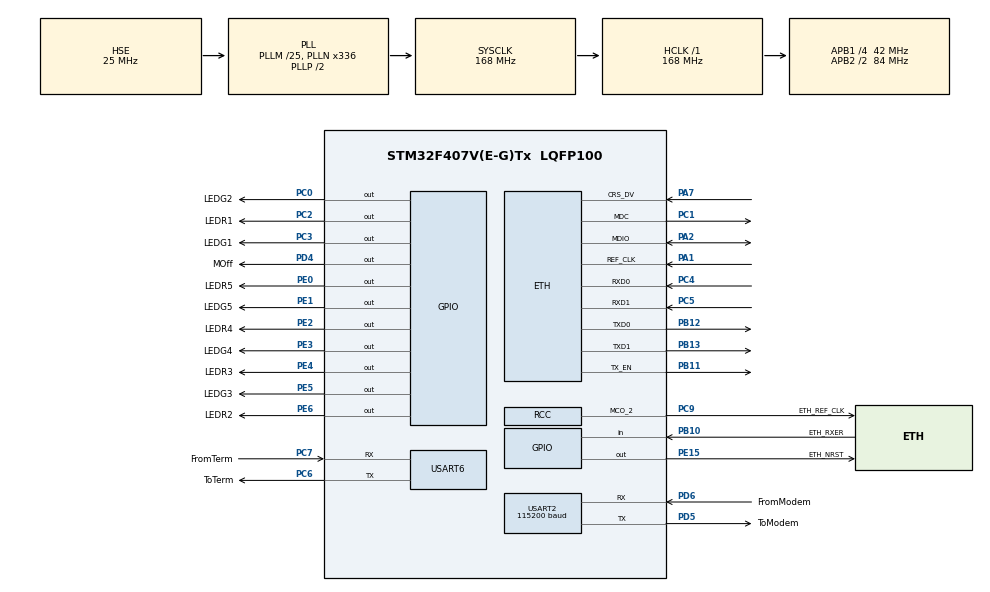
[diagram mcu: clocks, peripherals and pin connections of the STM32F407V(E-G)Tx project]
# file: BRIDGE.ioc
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Dma.Request0=USART6_TX
Dma.Request1=USART6_RX
Dma.Request2=USART2_RX
Dma.Request3=USART2_TX
Dma.USART2_RX.2.Direction=DMA_PERIPH_TO_MEMORY
Dma.USART2_RX.2.FIFOMode=DMA_FIFOMODE_DISABLE
Dma.USART2_RX.2.Instance=DMA1_Stream5
Dma.USART2_RX.2.MemDataAlignment=DMA_MDATAALIGN_BYTE
Dma.USART2_RX.2.MemInc=DMA_MINC_ENABLE
Dma.USART2_RX.2.Mode=DMA_CIRCULAR
Dma.USART2_RX.2.PeriphDataAlignment=DMA_PDATAALIGN_BYTE
Dma.USART2_RX.2.PeriphInc=DMA_PINC_DISABLE
Dma.USART2_RX.2.Priority=DMA_PRIORITY_LOW
Dma.USART2_TX.3.Direction=DMA_MEMORY_TO_PERIPH
Dma.USART2_TX.3.FIFOMode=DMA_FIFOMODE_DISABLE
Dma.USART2_TX.3.Instance=DMA1_Stream6
Dma.USART2_TX.3.MemDataAlignment=DMA_MDATAALIGN_BYTE
Dma.USART2_TX.3.MemInc=DMA_MINC_ENABLE
Dma.USART2_TX.3.Mode=DMA_NORMAL
Dma.USART2_TX.3.PeriphDataAlignment=DMA_PDATAALIGN_BYTE
Dma.USART2_TX.3.PeriphInc=DMA_PINC_DISABLE
Dma.USART2_TX.3.Priority=DMA_PRIORITY_LOW
Dma.USART6_RX.1.Direction=DMA_PERIPH_TO_MEMORY
Dma.USART6_RX.1.FIFOMode=DMA_FIFOMODE_DISABLE
Dma.USART6_RX.1.Instance=DMA2_Stream1
Dma.USART6_RX.1.MemDataAlignment=DMA_MDATAALIGN_BYTE
Dma.USART6_RX.1.MemInc=DMA_MINC_ENABLE
Dma.USART6_RX.1.Mode=DMA_NORMAL
Dma.USART6_RX.1.PeriphDataAlignment=DMA_PDATAALIGN_BYTE
Dma.USART6_RX.1.PeriphInc=DMA_PINC_DISABLE
Dma.USART6_RX.1.Priority=DMA_PRIORITY_LOW
Dma.USART6_TX.0.Direction=DMA_MEMORY_TO_PERIPH
Dma.USART6_TX.0.FIFOMode=DMA_FIFOMODE_DISABLE
Dma.USART6_TX.0.Instance=DMA2_Stream6
Dma.USART6_TX.0.MemDataAlignment=DMA_MDATAALIGN_BYTE
Dma.USART6_TX.0.MemInc=DMA_MINC_ENABLE
Dma.USART6_TX.0.Mode=DMA_NORMAL
Dma.USART6_TX.0.PeriphDataAlignment=DMA_PDATAALIGN_BYTE
Dma.USART6_TX.0.PeriphInc=DMA_PINC_DISABLE
Dma.USART6_TX.0.Priority=DMA_PRIORITY_LOW
ETH.ChecksumMode=ETH_CHECKSUM_BY_HARDWARE
ETH.MACAddr=00\:80\:E1\:00\:28\:93
ETH.MediaInterface=ETH_MEDIA_INTERFACE_RMII
ETH.PHY_DUPLEX_STATUS=0x0010
ETH.PHY_ISFR=0x001d
ETH.PHY_ISFR_INT4=0x0010
ETH.PHY_Name_RMII=userPHY
ETH.PHY_SPEED_STATUS=0x0004
ETH.PHY_SR=31
ETH.PHY_User_Name=LAN8720
ETH.PhyAddress=0
FREERTOS.Tasks01=defaultTask,0,512,StartDefaultTask,Default,NULL,Dynamic,NULL,NULL
FREERTOS.configCHECK_FOR_STACK_OVERFLOW=2
FREERTOS.configTOTAL_HEAP_SIZE=20480
FREERTOS.configUSE_MALLOC_FAILED_HOOK=1
LWIP.API_LIB_DEBUG=LWIP_DBG_ON
LWIP.API_MSG_DEBUG=LWIP_DBG_ON
LWIP.AUTOIP_DEBUG=LWIP_DBG_ON
LWIP.CHECKSUM_BY_HARDWARE=0
LWIP.DHCP_DEBUG=LWIP_DBG_ON
LWIP.DNS_DEBUG=LWIP_DBG_ON
LWIP.ETHARP_DEBUG=LWIP_DBG_OFF
LWIP.GATEWAY_ADDRESS=192.168.001.001
LWIP.ICMP_DEBUG=LWIP_DBG_ON
LWIP.IGMP_DEBUG=LWIP_DBG_ON
LWIP.INET_DEBUG=LWIP_DBG_ON
LWIP.IP_ADDRESS=192.168.001.010
LWIP.IP_DEBUG=LWIP_DBG_ON
LWIP.IP_REASS_DEBUG=LWIP_DBG_ON
LWIP.LWIP_CHECKSUM_CTRL_PER_NETIF=1
LWIP.LWIP_DHCP=0
LWIP.LWIP_DNS=1
LWIP.MEMP_DEBUG=LWIP_DBG_OFF
LWIP.MEMP_NUM_PBUF=10
LWIP.MEMP_NUM_TCP_PCB=10
LWIP.MEMP_NUM_TCP_PCB_LISTEN=5
LWIP.MEMP_NUM_TCP_SEG=12
LWIP.MEMP_NUM_UDP_PCB=6
LWIP.MEM_DEBUG=LWIP_DBG_OFF
LWIP.MEM_SIZE=20480
LWIP.NETIF_DEBUG=LWIP_DBG_ON
LWIP.NETMASK_ADDRESS=255.255.255.000
LWIP.PAP_SUPPORT=1
LWIP.PBUF_DEBUG=LWIP_DBG_OFF
LWIP.PBUF_POOL_BUFSIZE=1524
LWIP.PPPOS_SUPPORT=1
LWIP.PPP_DEBUG=LWIP_DBG_ON
LWIP.PPP_SUPPORT=1
LWIP.RAW_DEBUG=LWIP_DBG_OFF
LWIP.SLIP_DEBUG=LWIP_DBG_OFF
LWIP.SOCKETS_DEBUG=LWIP_DBG_ON
LWIP.SYS_DEBUG=LWIP_DBG_OFF
LWIP.TCPIP_DEBUG=LWIP_DBG_ON
LWIP.TCP_CWND_DEBUG=LWIP_DBG_ON
LWIP.TCP_DEBUG=LWIP_DBG_OFF
LWIP.TCP_FR_DEBUG=LWIP_DBG_ON
LWIP.TCP_INPUT_DEBUG=LWIP_DBG_ON
LWIP.TCP_MSS=1460
LWIP.TCP_OUTPUT_DEBUG=LWIP_DBG_ON
LWIP.TCP_QLEN_DEBUG=LWIP_DBG_ON
LWIP.TCP_QUEUE_OOSEQ=0
LWIP.TCP_RST_DEBUG=LWIP_DBG_ON
LWIP.TCP_RTO_DEBUG=LWIP_DBG_ON
LWIP.TCP_SND_BUF=5840
LWIP.TCP_SND_QUEUELEN=8
LWIP.TCP_WND=2920
LWIP.TCP_WND_DEBUG=LWIP_DBG_ON
LWIP.TIMERS_DEBUG=LWIP_DBG_OFF
LWIP.UDP_DEBUG=LWIP_DBG_ON
LWIP.Version=v2.0.3_Cube
Mcu.Family=STM32F4
Mcu.Name=STM32F407V(E-G)Tx
Mcu.Package=LQFP100
NVIC.DMA1_Stream5_IRQn=true\:0\:0\:false\:false\:true\:false\:false
NVIC.DMA1_Stream6_IRQn=true\:0\:0\:false\:false\:true\:false\:false
NVIC.DMA2_Stream1_IRQn=true\:0\:0\:false\:false\:true\:false\:false
NVIC.DMA2_Stream6_IRQn=true\:0\:0\:false\:false\:true\:false\:false
NVIC.ETH_IRQn=true\:5\:0\:false\:false\:true\:true\:false
NVIC.PriorityGroup=NVIC_PRIORITYGROUP_4
NVIC.TIM1_UP_TIM10_IRQn=true\:0\:0\:false\:false\:true\:false\:false
NVIC.TimeBase=TIM1_UP_TIM10_IRQn
NVIC.TimeBaseIP=TIM1
NVIC.USART2_IRQn=true\:0\:0\:false\:false\:true\:false\:true
NVIC.USART6_IRQn=true\:0\:0\:false\:false\:true\:false\:true
PA1.Mode=RMII
PA1.Signal=ETH_REF_CLK
PA13.Mode=Trace_Asynchronous_SW
PA13.Signal=SYS_JTMS-SWDIO
PA14.Mode=Trace_Asynchronous_SW
PA14.Signal=SYS_JTCK-SWCLK
PA2.Mode=RMII
PA2.Signal=ETH_MDIO
PA7.Mode=RMII
PA7.Signal=ETH_CRS_DV
PB10.GPIO_Label=ETH_RXER
PB10.Signal=GPIO_Input
PB11.Mode=RMII
PB11.Signal=ETH_TX_EN
PB12.Mode=RMII
PB12.Signal=ETH_TXD0
PB13.Mode=RMII
PB13.Signal=ETH_TXD1
PB3.Mode=Trace_Asynchronous_SW
PB3.Signal=SYS_JTDO-SWO
PC0.GPIO_Label=LEDG2
PC0.Signal=GPIO_Output
PC1.Mode=RMII
PC1.Signal=ETH_MDC
PC2.GPIO_Label=LEDR1
PC2.Signal=GPIO_Output
PC3.GPIO_Label=LEDG1
PC3.Signal=GPIO_Output
PC4.Mode=RMII
PC4.Signal=ETH_RXD0
PC5.Mode=RMII
PC5.Signal=ETH_RXD1
PC6.GPIO_Label=ToTerm
PC6.Mode=Asynchronous
PC6.Signal=USART6_TX
PC7.GPIO_Label=FromTerm
PC7.Mode=Asynchronous
PC7.Signal=USART6_RX
PC9.GPIO_Label=ETH_REF_CLK
PC9.GPIO_Speed=GPIO_SPEED_FREQ_HIGH
PC9.Mode=Clock-out-2
PC9.Signal=RCC_MCO_2
PD4.GPIO_Label=MOff
PD4.PinState=GPIO_PIN_SET
PD4.Signal=GPIO_Output
PD5.GPIO_Label=ToModem
PD5.Mode=Asynchronous
PD5.Signal=USART2_TX
PD6.GPIO_Label=FromModem
PD6.Mode=Asynchronous
PD6.Signal=USART2_RX
PE0.GPIO_Label=LEDR5
PE0.Signal=GPIO_Output
PE1.GPIO_Label=LEDG5
PE1.Signal=GPIO_Output
PE15.GPIO_Label=ETH_NRST
PE15.Signal=GPIO_Output
PE2.GPIO_Label=LEDR4
PE2.Signal=GPIO_Output
PE3.GPIO_Label=LEDG4
PE3.Signal=GPIO_Output
PE4.GPIO_Label=LEDR3
PE4.Signal=GPIO_Output
PE5.GPIO_Label=LEDG3
PE5.Signal=GPIO_Output
PE6.GPIO_Label=LEDR2
PE6.Signal=GPIO_Output
PH0-OSC_IN.Mode=HSE-External-Oscillator
PH0-OSC_IN.Signal=RCC_OSC_IN
PH1-OSC_OUT.Mode=HSE-External-Oscillator
PH1-OSC_OUT.Signal=RCC_OSC_OUT
ProjectManager.HeapSize=0x2000
ProjectManager.StackSize=0x4000
ProjectManager.TargetToolchain=MDK-ARM V5
RCC.48MHZClocksFreq_Value=48000000
RCC.AHBFreq_Value=168000000
RCC.APB1CLKDivider=RCC_HCLK_DIV4
RCC.APB1Freq_Value=42000000
RCC.APB1TimFreq_Value=84000000
RCC.APB2CLKDivider=RCC_HCLK_DIV2
RCC.APB2Freq_Value=84000000
RCC.APB2TimFreq_Value=168000000
RCC.CortexFreq_Value=168000000
RCC.HCLKFreq_Value=168000000
RCC.HSE_VALUE=25000000
RCC.HSI_VALUE=16000000
RCC.LSE_VALUE=32768
RCC.PLLI2SN=100
RCC.PLLM=25
RCC.PLLN=336
RCC.PLLQ=7
RCC.PLLSourceVirtual=RCC_PLLSOURCE_HSE
RCC.RCC_MCO2Source=RCC_MCO2SOURCE_PLLI2SCLK
RCC.SYSCLKFreq_VALUE=168000000
RCC.SYSCLKSource=RCC_SYSCLKSOURCE_PLLCLK
RCC.VCOOutputFreq_Value=336000000
USART2.BaudRate=115200
USART2.VirtualMode=VM_ASYNC
USART6.VirtualMode=VM_ASYNC
VP_FREERTOS_VS_ENABLE.Mode=Enabled
VP_LWIP_VS_Enabled.Mode=Enabled
VP_SYS_VS_tim1.Mode=TIM1
board=BRIDGE

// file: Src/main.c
/**
  ******************************************************************************
  * @file           : main.c
  * @brief          : Main program body
  ******************************************************************************
  * This notice applies to any and all portions of this file
  * that are not between comment pairs USER CODE BEGIN and
  * USER CODE END. Other portions of this file, whether
  * inserted by the user or by software development tools
  * are owned by their respective copyright owners.
  *
  * Copyright (c) 2018 STMicroelectronics International N.V.
  * All rights reserved.
  *
  * Redistribution and use in source and binary forms, with or without
  * modification, are permitted, provided that the following conditions are met:
  *
  * 1. Redistribution of source code must retain the above copyright notice,
  *    this list of conditions and the following disclaimer.
  * 2. Redistributions in binary form must reproduce the above copyright notice,
  *    this list of conditions and the following disclaimer in the documentation
  *    and/or other materials provided with the distribution.
  * 3. Neither the name of STMicroelectronics nor the names of other
  *    contributors to this software may be used to endorse or promote products
  *    derived from this software without specific written permission.
  * 4. This software, including modifications and/or derivative works of this
  *    software, must execute solely and exclusively on microcontroller or
  *    microprocessor devices manufactured by or for STMicroelectronics.
  * 5. Redistribution and use of this software other than as permitted under
  *    this license is void and will automatically terminate your rights under
  *    this license.
  *
  * THIS SOFTWARE IS PROVIDED BY STMICROELECTRONICS AND CONTRIBUTORS "AS IS"
  * AND ANY EXPRESS, IMPLIED OR STATUTORY WARRANTIES, INCLUDING, BUT NOT
  * LIMITED TO, THE IMPLIED WARRANTIES OF MERCHANTABILITY, FITNESS FOR A
  * PARTICULAR PURPOSE AND NON-INFRINGEMENT OF THIRD PARTY INTELLECTUAL PROPERTY
  * RIGHTS ARE DISCLAIMED TO THE FULLEST EXTENT PERMITTED BY LAW. IN NO EVENT
  * SHALL STMICROELECTRONICS OR CONTRIBUTORS BE LIABLE FOR ANY DIRECT, INDIRECT,
  * INCIDENTAL, SPECIAL, EXEMPLARY, OR CONSEQUENTIAL DAMAGES (INCLUDING, BUT NOT
  * LIMITED TO, PROCUREMENT OF SUBSTITUTE GOODS OR SERVICES; LOSS OF USE, DATA,
  * OR PROFITS; OR BUSINESS INTERRUPTION) HOWEVER CAUSED AND ON ANY THEORY OF
  * LIABILITY, WHETHER IN CONTRACT, STRICT LIABILITY, OR TORT (INCLUDING
  * NEGLIGENCE OR OTHERWISE) ARISING IN ANY WAY OUT OF THE USE OF THIS SOFTWARE,
  * EVEN IF ADVISED OF THE POSSIBILITY OF SUCH DAMAGE.
  *
  ******************************************************************************
  */
#include "main.h"
#include "stm32f4xx_hal.h"
#include "cmsis_os.h"
#include "lwip.h"

/* USER CODE BEGIN Includes */
#include <string.h>
#include "Bridge_Data.h"
#include "HTTP_Server.h"
#include "GSM.h"
#include "Application_PPPoS.h"
/* USER CODE END Includes */

UART_HandleTypeDef huart2;
UART_HandleTypeDef huart6;
DMA_HandleTypeDef hdma_usart2_rx;
DMA_HandleTypeDef hdma_usart2_tx;
DMA_HandleTypeDef hdma_usart6_tx;
DMA_HandleTypeDef hdma_usart6_rx;

osThreadId defaultTaskHandle;

/* USER CODE BEGIN PV */
/* Private variables ---------------------------------------------------------*/

/* USER CODE END PV */

void SystemClock_Config(void);
static void MX_GPIO_Init(void);
static void MX_DMA_Init(void);
static void MX_USART2_UART_Init(void);
static void MX_USART6_UART_Init(void);
void StartDefaultTask(void const * argument);

/* USER CODE BEGIN PFP */

//static void Printf_Task(void const * argument);
#define PUTCHAR_PROTOTYPE int fputc(int ch, FILE *f)
//	#define SIZE_BUFF_PRINTF 2048
//	uint32_t Cnt_Char_printf = 0;
//	uint32_t Cnt_Char_Send_printf = 0;
//	uint8_t Buff_printf[SIZE_BUFF_PRINTF];
///* USER CODE END PFP */

///* USER CODE BEGIN 0 */
PUTCHAR_PROTOTYPE
{
//	Buff_printf[Cnt_Char_printf] = ch;
//	Cnt_Char_printf++;
//	if (Cnt_Char_printf==SIZE_BUFF_PRINTF)Cnt_Char_printf=0;
	HAL_UART_Transmit(&huart6, (uint8_t *)&ch, 1, 0xFFFFFFFF);
  return ch;
}
/* USER CODE END 0 */

int main(void)
{

  /* MCU Configuration----------------------------------------------------------*/

  /* Reset of all peripherals, Initializes the Flash interface and the Systick. */
  HAL_Init();

  /* Configure the system clock */
  SystemClock_Config();

  /* Initialize all configured peripherals */
  MX_GPIO_Init();
  MX_DMA_Init();
  MX_USART2_UART_Init();
  MX_USART6_UART_Init();
  /* USER CODE BEGIN 2 */
	memcpy(temp_internet_apn, CONFIG_GSM_INTERNET_APN, sizeof(CONFIG_GSM_INTERNET_APN));
	memcpy(temp_internet_user, CONFIG_GSM_INTERNET_USER, sizeof(CONFIG_GSM_INTERNET_USER));
	memcpy(temp_internet_password, CONFIG_GSM_INTERNET_PASSWORD, sizeof(CONFIG_GSM_INTERNET_PASSWORD));
  /* USER CODE END 2 */

  /* Create the thread(s) */
  /* definition and creation of defaultTask */
  osThreadDef(defaultTask, StartDefaultTask, osPriorityNormal, 0, 512);
  defaultTaskHandle = osThreadCreate(osThread(defaultTask), NULL);

  /* USER CODE BEGIN RTOS_QUEUES */
  /* add queues, ... */
	printf("PLEASE CONNECT TO BOARD\r\n");
  /* USER CODE END RTOS_QUEUES */

  /* Start scheduler */
  osKernelStart();

  /* We should never get here as control is now taken by the scheduler */

  /* Infinite loop */
  while (1)
  {

  }

}

void SystemClock_Config(void)
{

  RCC_OscInitTypeDef RCC_OscInitStruct;
  RCC_ClkInitTypeDef RCC_ClkInitStruct;
  RCC_PeriphCLKInitTypeDef PeriphClkInitStruct;

    /**Configure the main internal regulator output voltage
    */
  __HAL_RCC_PWR_CLK_ENABLE();

  __HAL_PWR_VOLTAGESCALING_CONFIG(PWR_REGULATOR_VOLTAGE_SCALE1);

    /**Initializes the CPU, AHB and APB busses clocks
    */
  RCC_OscInitStruct.OscillatorType = RCC_OSCILLATORTYPE_HSE;
  RCC_OscInitStruct.HSEState = RCC_HSE_ON;
  RCC_OscInitStruct.PLL.PLLState = RCC_PLL_ON;
  RCC_OscInitStruct.PLL.PLLSource = RCC_PLLSOURCE_HSE;
  RCC_OscInitStruct.PLL.PLLM = 25;
  RCC_OscInitStruct.PLL.PLLN = 336;
  RCC_OscInitStruct.PLL.PLLP = RCC_PLLP_DIV2;
  RCC_OscInitStruct.PLL.PLLQ = 7;
  if (HAL_RCC_OscConfig(&RCC_OscInitStruct) != HAL_OK)
  {
    _Error_Handler(__FILE__, __LINE__);
  }

    /**Initializes the CPU, AHB and APB busses clocks
    */
  RCC_ClkInitStruct.ClockType = RCC_CLOCKTYPE_HCLK|RCC_CLOCKTYPE_SYSCLK
                              |RCC_CLOCKTYPE_PCLK1|RCC_CLOCKTYPE_PCLK2;
  RCC_ClkInitStruct.SYSCLKSource = RCC_SYSCLKSOURCE_PLLCLK;
  RCC_ClkInitStruct.AHBCLKDivider = RCC_SYSCLK_DIV1;
  RCC_ClkInitStruct.APB1CLKDivider = RCC_HCLK_DIV4;
  RCC_ClkInitStruct.APB2CLKDivider = RCC_HCLK_DIV2;

  if (HAL_RCC_ClockConfig(&RCC_ClkInitStruct, FLASH_LATENCY_5) != HAL_OK)
  {
    _Error_Handler(__FILE__, __LINE__);
  }

  PeriphClkInitStruct.PeriphClockSelection = RCC_PERIPHCLK_I2S;
  PeriphClkInitStruct.PLLI2S.PLLI2SN = 100;
  PeriphClkInitStruct.PLLI2S.PLLI2SR = 2;
  if (HAL_RCCEx_PeriphCLKConfig(&PeriphClkInitStruct) != HAL_OK)
  {
    _Error_Handler(__FILE__, __LINE__);
  }

  HAL_RCC_MCOConfig(RCC_MCO2, RCC_MCO2SOURCE_PLLI2SCLK, RCC_MCODIV_1);

    /**Configure the Systick interrupt time
    */
  HAL_SYSTICK_Config(HAL_RCC_GetHCLKFreq()/1000);

    /**Configure the Systick
    */
  HAL_SYSTICK_CLKSourceConfig(SYSTICK_CLKSOURCE_HCLK);

  /* SysTick_IRQn interrupt configuration */
  HAL_NVIC_SetPriority(SysTick_IRQn, 15, 0);
}

/* USART2 init function */
static void MX_USART2_UART_Init(void)
{

  huart2.Instance = USART2;
  huart2.Init.BaudRate = 115200;
  huart2.Init.WordLength = UART_WORDLENGTH_8B;
  huart2.Init.StopBits = UART_STOPBITS_1;
  huart2.Init.Parity = UART_PARITY_NONE;
  huart2.Init.Mode = UART_MODE_TX_RX;
  huart2.Init.HwFlowCtl = UART_HWCONTROL_NONE;
  huart2.Init.OverSampling = UART_OVERSAMPLING_16;
  if (HAL_UART_Init(&huart2) != HAL_OK)
  {
    _Error_Handler(__FILE__, __LINE__);
  }

}

/* USART6 init function */
static void MX_USART6_UART_Init(void)
{

  huart6.Instance = USART6;
  huart6.Init.BaudRate = 115200;
  huart6.Init.WordLength = UART_WORDLENGTH_8B;
  huart6.Init.StopBits = UART_STOPBITS_1;
  huart6.Init.Parity = UART_PARITY_NONE;
  huart6.Init.Mode = UART_MODE_TX_RX;
  huart6.Init.HwFlowCtl = UART_HWCONTROL_NONE;
  huart6.Init.OverSampling = UART_OVERSAMPLING_16;
  if (HAL_UART_Init(&huart6) != HAL_OK)
  {
    _Error_Handler(__FILE__, __LINE__);
  }

}

static void MX_DMA_Init(void)
{
  /* DMA controller clock enable */
  __HAL_RCC_DMA2_CLK_ENABLE();
  __HAL_RCC_DMA1_CLK_ENABLE();

  /* DMA interrupt init */
  /* DMA1_Stream5_IRQn interrupt configuration */
  HAL_NVIC_SetPriority(DMA1_Stream5_IRQn, 0, 0);
  HAL_NVIC_EnableIRQ(DMA1_Stream5_IRQn);
  /* DMA1_Stream6_IRQn interrupt configuration */
  HAL_NVIC_SetPriority(DMA1_Stream6_IRQn, 0, 0);
  HAL_NVIC_EnableIRQ(DMA1_Stream6_IRQn);
  /* DMA2_Stream1_IRQn interrupt configuration */
  HAL_NVIC_SetPriority(DMA2_Stream1_IRQn, 0, 0);
  HAL_NVIC_EnableIRQ(DMA2_Stream1_IRQn);
  /* DMA2_Stream6_IRQn interrupt configuration */
  HAL_NVIC_SetPriority(DMA2_Stream6_IRQn, 0, 0);
  HAL_NVIC_EnableIRQ(DMA2_Stream6_IRQn);

}

/** Configure pins as
        * Analog
        * Input
        * Output
        * EVENT_OUT
        * EXTI
        * Free pins are configured automatically as Analog (this feature is enabled through
        * the Code Generation settings)
     PC9   ------> RCC_MCO_2
*/
static void MX_GPIO_Init(void)
{

  GPIO_InitTypeDef GPIO_InitStruct;

  /* GPIO Ports Clock Enable */
  __HAL_RCC_GPIOE_CLK_ENABLE();
  __HAL_RCC_GPIOC_CLK_ENABLE();
  __HAL_RCC_GPIOH_CLK_ENABLE();
  __HAL_RCC_GPIOA_CLK_ENABLE();
  __HAL_RCC_GPIOB_CLK_ENABLE();
  __HAL_RCC_GPIOD_CLK_ENABLE();

  /*Configure GPIO pin Output Level */
  HAL_GPIO_WritePin(GPIOE, LEDR4_Pin|LEDG4_Pin|LEDR3_Pin|LEDG3_Pin
                          |LEDR2_Pin|ETH_NRST_Pin|LEDR5_Pin|LEDG5_Pin, GPIO_PIN_RESET);

  /*Configure GPIO pin Output Level */
  HAL_GPIO_WritePin(GPIOC, LEDG2_Pin|LEDR1_Pin|LEDG1_Pin, GPIO_PIN_RESET);

  /*Configure GPIO pin Output Level */
  HAL_GPIO_WritePin(MOff_GPIO_Port, MOff_Pin, GPIO_PIN_SET);

  /*Configure GPIO pins : LEDR4_Pin LEDG4_Pin LEDR3_Pin LEDG3_Pin
                           LEDR2_Pin ETH_NRST_Pin LEDR5_Pin LEDG5_Pin */
  GPIO_InitStruct.Pin = LEDR4_Pin|LEDG4_Pin|LEDR3_Pin|LEDG3_Pin
                          |LEDR2_Pin|ETH_NRST_Pin|LEDR5_Pin|LEDG5_Pin;
  GPIO_InitStruct.Mode = GPIO_MODE_OUTPUT_PP;
  GPIO_InitStruct.Pull = GPIO_NOPULL;
  GPIO_InitStruct.Speed = GPIO_SPEED_FREQ_LOW;
  HAL_GPIO_Init(GPIOE, &GPIO_InitStruct);

  /*Configure GPIO pins : PC13 PC14 PC15 PC8
                           PC10 PC11 PC12 */
  GPIO_InitStruct.Pin = GPIO_PIN_13|GPIO_PIN_14|GPIO_PIN_15|GPIO_PIN_8
                          |GPIO_PIN_10|GPIO_PIN_11|GPIO_PIN_12;
  GPIO_InitStruct.Mode = GPIO_MODE_ANALOG;
  GPIO_InitStruct.Pull = GPIO_NOPULL;
  HAL_GPIO_Init(GPIOC, &GPIO_InitStruct);

  /*Configure GPIO pins : LEDG2_Pin LEDR1_Pin LEDG1_Pin */
  GPIO_InitStruct.Pin = LEDG2_Pin|LEDR1_Pin|LEDG1_Pin;
  GPIO_InitStruct.Mode = GPIO_MODE_OUTPUT_PP;
  GPIO_InitStruct.Pull = GPIO_NOPULL;
  GPIO_InitStruct.Speed = GPIO_SPEED_FREQ_LOW;
  HAL_GPIO_Init(GPIOC, &GPIO_InitStruct);

  /*Configure GPIO pins : PA0 PA3 PA4 PA5
                           PA6 PA8 PA9 PA10
                           PA11 PA12 PA15 */
  GPIO_InitStruct.Pin = GPIO_PIN_0|GPIO_PIN_3|GPIO_PIN_4|GPIO_PIN_5
                          |GPIO_PIN_6|GPIO_PIN_8|GPIO_PIN_9|GPIO_PIN_10
                          |GPIO_PIN_11|GPIO_PIN_12|GPIO_PIN_15;
  GPIO_InitStruct.Mode = GPIO_MODE_ANALOG;
  GPIO_InitStruct.Pull = GPIO_NOPULL;
  HAL_GPIO_Init(GPIOA, &GPIO_InitStruct);

  /*Configure GPIO pins : PB0 PB1 PB2 PB14
                           PB15 PB4 PB5 PB6
                           PB7 PB8 PB9 */
  GPIO_InitStruct.Pin = GPIO_PIN_0|GPIO_PIN_1|GPIO_PIN_2|GPIO_PIN_14
                          |GPIO_PIN_15|GPIO_PIN_4|GPIO_PIN_5|GPIO_PIN_6
                          |GPIO_PIN_7|GPIO_PIN_8|GPIO_PIN_9;
  GPIO_InitStruct.Mode = GPIO_MODE_ANALOG;
  GPIO_InitStruct.Pull = GPIO_NOPULL;
  HAL_GPIO_Init(GPIOB, &GPIO_InitStruct);

  /*Configure GPIO pins : PE7 PE8 PE9 PE10
                           PE11 PE12 PE13 PE14 */
  GPIO_InitStruct.Pin = GPIO_PIN_7|GPIO_PIN_8|GPIO_PIN_9|GPIO_PIN_10
                          |GPIO_PIN_11|GPIO_PIN_12|GPIO_PIN_13|GPIO_PIN_14;
  GPIO_InitStruct.Mode = GPIO_MODE_ANALOG;
  GPIO_InitStruct.Pull = GPIO_NOPULL;
  HAL_GPIO_Init(GPIOE, &GPIO_InitStruct);

  /*Configure GPIO pin : ETH_RXER_Pin */
  GPIO_InitStruct.Pin = ETH_RXER_Pin;
  GPIO_InitStruct.Mode = GPIO_MODE_INPUT;
  GPIO_InitStruct.Pull = GPIO_NOPULL;
  HAL_GPIO_Init(ETH_RXER_GPIO_Port, &GPIO_InitStruct);

  /*Configure GPIO pins : PD8 PD9 PD10 PD11
                           PD12 PD13 PD14 PD15
                           PD0 PD1 PD2 PD3
                           PD7 */
  GPIO_InitStruct.Pin = GPIO_PIN_8|GPIO_PIN_9|GPIO_PIN_10|GPIO_PIN_11
                          |GPIO_PIN_12|GPIO_PIN_13|GPIO_PIN_14|GPIO_PIN_15
                          |GPIO_PIN_0|GPIO_PIN_1|GPIO_PIN_2|GPIO_PIN_3
                          |GPIO_PIN_7;
  GPIO_InitStruct.Mode = GPIO_MODE_ANALOG;
  GPIO_InitStruct.Pull = GPIO_NOPULL;
  HAL_GPIO_Init(GPIOD, &GPIO_InitStruct);

  /*Configure GPIO pin : ETH_REF_CLK_Pin */
  GPIO_InitStruct.Pin = ETH_REF_CLK_Pin;
  GPIO_InitStruct.Mode = GPIO_MODE_AF_PP;
  GPIO_InitStruct.Pull = GPIO_NOPULL;
  GPIO_InitStruct.Speed = GPIO_SPEED_FREQ_HIGH;
  GPIO_InitStruct.Alternate = GPIO_AF0_MCO;
  HAL_GPIO_Init(ETH_REF_CLK_GPIO_Port, &GPIO_InitStruct);

  /*Configure GPIO pin : MOff_Pin */
  GPIO_InitStruct.Pin = MOff_Pin;
  GPIO_InitStruct.Mode = GPIO_MODE_OUTPUT_PP;
  GPIO_InitStruct.Pull = GPIO_NOPULL;
  GPIO_InitStruct.Speed = GPIO_SPEED_FREQ_LOW;
  HAL_GPIO_Init(MOff_GPIO_Port, &GPIO_InitStruct);

}

/* USER CODE BEGIN 4 */

//static void Printf_Task(void const * argument)
//{
//	int size;
//	volatile int cnt_chr;
//  for(;;)
//  {
//		//while(huart6.hdmatx->State != HAL_DMA_STATE_READY){}
//		cnt_chr=Cnt_Char_printf;
//		if((Cnt_Char_Send_printf!=cnt_chr)&&(huart6.hdmatx->State == HAL_DMA_STATE_READY)){
//		if(Cnt_Char_Send_printf<cnt_chr){
//		size = cnt_chr - Cnt_Char_Send_printf;
//		HAL_UART_Transmit_DMA(&huart6, (uint8_t *)&Buff_printf[Cnt_Char_Send_printf], size);
//		Cnt_Char_Send_printf+=size;
//		}else{
//		size = SIZE_BUFF_PRINTF - Cnt_Char_Send_printf;
//		HAL_UART_Transmit_DMA(&huart6, (uint8_t *)&Buff_printf[Cnt_Char_Send_printf], size);
//		Cnt_Char_Send_printf=SIZE_BUFF_PRINTF;
//		}
//		if (Cnt_Char_Send_printf==SIZE_BUFF_PRINTF)Cnt_Char_Send_printf=0;
//		}else{
//		osDelay(1);
//		}
//  }
//}
/* USER CODE END 4 */

/* StartDefaultTask function */
void StartDefaultTask(void const * argument)
{
  /* USER CODE BEGIN 5 */
	#ifdef BRIDGE_USE_ETHERNET
	MX_LWIP_Init();
	HTTP_Server_Socket_Init();
	#elif BRIDGE_USE_PPPOS
		tcpip_init( NULL, NULL );
	#endif /* BRIDGE_USE_ETHERNET */

		#ifdef BRIDGE_USE_PPPOS
			PPPOS_Start(&hgsm, &huart2);
		#elif BRIDGE_USE_GSM
			GSM_Hardware_Reset_And_Start(&hgsm, &huart2);
		#endif
	printf("PLEASE CONNECT TO BOARD\r\n");
  /* Infinite loop */
	//while(fl_send_forward_packet==0)osDelay(1);

  for(;;)
  {
		osThreadTerminate(NULL);
    //osDelay(1);
  }
  /* USER CODE END 5 */
}

void HAL_TIM_PeriodElapsedCallback(TIM_HandleTypeDef *htim)
{
  if (htim->Instance == TIM1) {
    HAL_IncTick();
  }
}

void _Error_Handler(char *file, int line)
{
  /* USER CODE BEGIN Error_Handler_Debug */
	assert_failed((uint8_t*)file, line);
  /* User can add his own implementation to report the HAL error return state */
  while(1)
  {
  }
  /* USER CODE END Error_Handler_Debug */
}

#ifdef  USE_FULL_ASSERT
/**
  * @brief  Reports the name of the source file and the source line number
  *         where the assert_param error has occurred.
  * @param  file: pointer to the source file name
  * @param  line: assert_param error line source number
  * @retval None
  */
void assert_failed(uint8_t* file, uint32_t line)
{
  /* USER CODE BEGIN 6 */
  /* User can add his own implementation to report the file name and line number*/
  printf("_Error_Handler: file %s on line %d\r\n", file, line);
  /* USER CODE END 6 */
}
#endif /* USE_FULL_ASSERT */

/************************ (C) COPYRIGHT STMicroelectronics *****END OF FILE****/

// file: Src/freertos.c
/**
  ******************************************************************************
  * File Name          : freertos.c
  * Description        : Code for freertos applications
  ******************************************************************************
  * This notice applies to any and all portions of this file
  * that are not between comment pairs USER CODE BEGIN and
  * USER CODE END. Other portions of this file, whether
  * inserted by the user or by software development tools
  * are owned by their respective copyright owners.
  *
  * Copyright (c) 2018 STMicroelectronics International N.V.
  * All rights reserved.
  *
  * Redistribution and use in source and binary forms, with or without
  * modification, are permitted, provided that the following conditions are met:
  *
  * 1. Redistribution of source code must retain the above copyright notice,
  *    this list of conditions and the following disclaimer.
  * 2. Redistributions in binary form must reproduce the above copyright notice,
  *    this list of conditions and the following disclaimer in the documentation
  *    and/or other materials provided with the distribution.
  * 3. Neither the name of STMicroelectronics nor the names of other
  *    contributors to this software may be used to endorse or promote products
  *    derived from this software without specific written permission.
  * 4. This software, including modifications and/or derivative works of this
  *    software, must execute solely and exclusively on microcontroller or
  *    microprocessor devices manufactured by or for STMicroelectronics.
  * 5. Redistribution and use of this software other than as permitted under
  *    this license is void and will automatically terminate your rights under
  *    this license.
  *
  * THIS SOFTWARE IS PROVIDED BY STMICROELECTRONICS AND CONTRIBUTORS "AS IS"
  * AND ANY EXPRESS, IMPLIED OR STATUTORY WARRANTIES, INCLUDING, BUT NOT
  * LIMITED TO, THE IMPLIED WARRANTIES OF MERCHANTABILITY, FITNESS FOR A
  * PARTICULAR PURPOSE AND NON-INFRINGEMENT OF THIRD PARTY INTELLECTUAL PROPERTY
  * RIGHTS ARE DISCLAIMED TO THE FULLEST EXTENT PERMITTED BY LAW. IN NO EVENT
  * SHALL STMICROELECTRONICS OR CONTRIBUTORS BE LIABLE FOR ANY DIRECT, INDIRECT,
  * INCIDENTAL, SPECIAL, EXEMPLARY, OR CONSEQUENTIAL DAMAGES (INCLUDING, BUT NOT
  * LIMITED TO, PROCUREMENT OF SUBSTITUTE GOODS OR SERVICES; LOSS OF USE, DATA,
  * OR PROFITS; OR BUSINESS INTERRUPTION) HOWEVER CAUSED AND ON ANY THEORY OF
  * LIABILITY, WHETHER IN CONTRACT, STRICT LIABILITY, OR TORT (INCLUDING
  * NEGLIGENCE OR OTHERWISE) ARISING IN ANY WAY OUT OF THE USE OF THIS SOFTWARE,
  * EVEN IF ADVISED OF THE POSSIBILITY OF SUCH DAMAGE.
  *
  ******************************************************************************
  */

#include "FreeRTOS.h"
#include "task.h"

/* USER CODE BEGIN Includes */
#include "stdio.h"
#include "Bridge_Define.h"
/* USER CODE END Includes */

/* Hook prototypes */
void vApplicationStackOverflowHook(xTaskHandle xTask, signed char *pcTaskName);
void vApplicationMallocFailedHook(void);

/* USER CODE BEGIN 4 */
//__weak void vApplicationStackOverflowHook(xTaskHandle xTask, signed char *pcTaskName)
//{
//	taskDISABLE_INTERRUPTS();
//	for( ;; );
//}
/* USER CODE END 4 */

/* USER CODE BEGIN 5 */
void vApplicationStackOverflowHook(xTaskHandle xTask, signed char *pcTaskName)
{
	taskDISABLE_INTERRUPTS();
	BRIDGE_DEBUG_FREERTOS(("FREERTOS: STACK OVERFLOW HOOK"));
	for( ;; );
}

void vApplicationMallocFailedHook(void)
{
  taskDISABLE_INTERRUPTS(); // game over
	BRIDGE_DEBUG_FREERTOS(("FREERTOS: MALLOC FAILED HOOK"));
  for( ;; );
}

void vAssertCalled(char * file, int line)
{
  taskDISABLE_INTERRUPTS(); // game over
	BRIDGE_DEBUG_FREERTOS(("FREERTOS: ASSERT CALLED"));
  for( ;; );
}
/* USER CODE END 5 */

/************************ (C) COPYRIGHT STMicroelectronics *****END OF FILE****/
